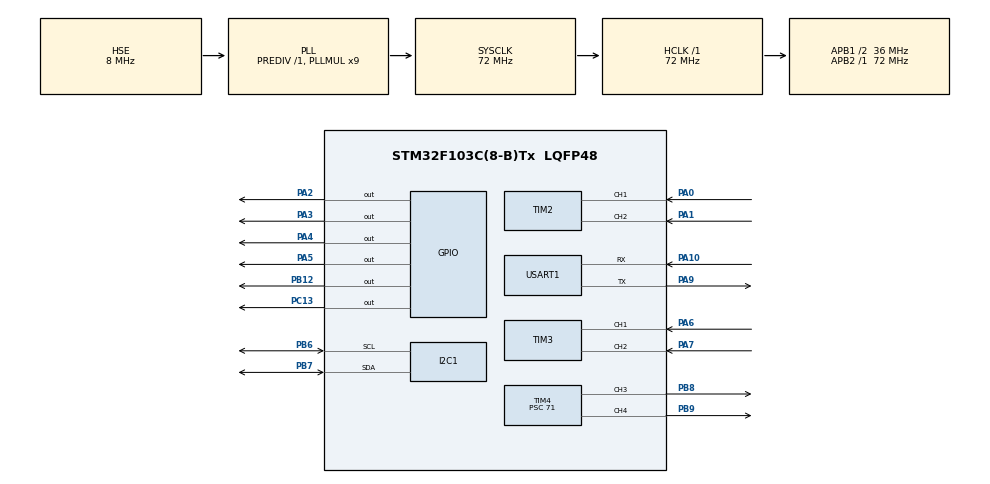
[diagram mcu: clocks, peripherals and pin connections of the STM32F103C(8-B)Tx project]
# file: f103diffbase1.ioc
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I2C1.OwnAddress=11
Mcu.Family=STM32F1
Mcu.Name=STM32F103C(8-B)Tx
Mcu.Package=LQFP48
NVIC.I2C1_ER_IRQn=true\:0\:0\:false\:false\:true\:true\:true\:true
NVIC.I2C1_EV_IRQn=true\:0\:0\:false\:false\:true\:true\:true\:true
NVIC.PriorityGroup=NVIC_PRIORITYGROUP_4
NVIC.USART1_IRQn=true\:0\:0\:false\:false\:true\:true\:true\:true
PA0-WKUP.Signal=S_TIM2_CH1_ETR
PA1.Signal=S_TIM2_CH2
PA10.Mode=Asynchronous
PA10.Signal=USART1_RX
PA13.Mode=Serial_Wire
PA13.Signal=SYS_JTMS-SWDIO
PA14.Mode=Serial_Wire
PA14.Signal=SYS_JTCK-SWCLK
PA2.Signal=GPIO_Output
PA3.Signal=GPIO_Output
PA4.Signal=GPIO_Output
PA5.Signal=GPIO_Output
PA6.Signal=S_TIM3_CH1
PA7.Signal=S_TIM3_CH2
PA9.Mode=Asynchronous
PA9.Signal=USART1_TX
PB12.Signal=GPIO_Output
PB6.Mode=I2C
PB6.Signal=I2C1_SCL
PB7.Mode=I2C
PB7.Signal=I2C1_SDA
PB8.Signal=S_TIM4_CH3
PB9.Signal=S_TIM4_CH4
PC13-TAMPER-RTC.Signal=GPIO_Output
PD0-OSC_IN.Mode=HSE-External-Oscillator
PD0-OSC_IN.Signal=RCC_OSC_IN
PD1-OSC_OUT.Mode=HSE-External-Oscillator
PD1-OSC_OUT.Signal=RCC_OSC_OUT
ProjectManager.HeapSize=0x200
ProjectManager.StackSize=0x400
ProjectManager.TargetToolchain=STM32CubeIDE
RCC.AHBFreq_Value=72000000
RCC.APB1CLKDivider=RCC_HCLK_DIV2
RCC.APB1Freq_Value=36000000
RCC.APB1TimFreq_Value=72000000
RCC.APB2Freq_Value=72000000
RCC.APB2TimFreq_Value=72000000
RCC.HCLKFreq_Value=72000000
RCC.PLLMUL=RCC_PLL_MUL9
RCC.PLLSourceVirtual=RCC_PLLSOURCE_HSE
RCC.SYSCLKFreq_VALUE=72000000
RCC.SYSCLKSource=RCC_SYSCLKSOURCE_PLLCLK
RCC.USBFreq_Value=72000000
SH.S_TIM2_CH1_ETR.0=TIM2_CH1,Encoder_Interface
SH.S_TIM2_CH2.0=TIM2_CH2,Encoder_Interface
SH.S_TIM3_CH1.0=TIM3_CH1,Encoder_Interface
SH.S_TIM3_CH2.0=TIM3_CH2,Encoder_Interface
SH.S_TIM4_CH3.0=TIM4_CH3,PWM Generation3 CH3
SH.S_TIM4_CH4.0=TIM4_CH4,PWM Generation4 CH4
TIM2.EncoderMode=TIM_ENCODERMODE_TI12
TIM3.EncoderMode=TIM_ENCODERMODE_TI12
TIM4.Channel-PWM\ Generation3\ CH3=TIM_CHANNEL_3
TIM4.Channel-PWM\ Generation4\ CH4=TIM_CHANNEL_4
TIM4.Prescaler=71
USART1.VirtualMode=VM_ASYNC
board=custom

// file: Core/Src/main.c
/* USER CODE BEGIN Header */
/**
  ******************************************************************************
  * @file           : main.c
  * @brief          : Main program body
  ******************************************************************************
  * @attention
  *
  * Copyright (c) 2026 STMicroelectronics.
  * All rights reserved.
  *
  * This software is licensed under terms that can be found in the LICENSE file
  * in the root directory of this software component.
  * If no LICENSE file comes with this software, it is provided AS-IS.
  *
  ******************************************************************************
  */
/* USER CODE END Header */
#include "main.h"
#include "i2c.h"
#include "tim.h"
#include "usart.h"
#include "gpio.h"

/* USER CODE BEGIN PD */
#define LEFT_IN1   GPIOA, GPIO_PIN_0
#define LEFT_IN2   GPIOA, GPIO_PIN_1
#define RIGHT_IN1  GPIOA, GPIO_PIN_2
#define RIGHT_IN2  GPIOA, GPIO_PIN_3

#define PWM_MAX  999

/* USER CODE END PD */

/* USER CODE BEGIN PV */
uint32_t t_led = 0;
uint32_t t_uart = 0;

uint32_t LED_PERIOD  = 500;   // ms
uint32_t UART_PERIOD = 1000;  // ms

uint8_t i2c_rx_buf[32];
uint8_t i2c_tx_buf[32];

volatile int16_t encoderLeftPulses  = 0;
volatile int16_t encoderRightPulses = 0;
volatile int16_t leftSpeedPidSetPoint = 0;
volatile int16_t rightSpeedPidSetPoint = 0;
volatile int16_t leftSpeedPidInputLast = 0;
volatile int16_t rightSpeedPidInputLast = 0;
volatile int16_t steeringPidInputLast = 0;

int16_t leftMotorCmd = 0;
int16_t rightMotorCmd = 0;

/* USER CODE END PV */

void SystemClock_Config(void);

int main(void)
{

  /* MCU Configuration--------------------------------------------------------*/

  /* Reset of all peripherals, Initializes the Flash interface and the Systick. */
  HAL_Init();

  /* Configure the system clock */
  SystemClock_Config();

  /* Initialize all configured peripherals */
  MX_GPIO_Init();
  MX_USART1_UART_Init();
  MX_I2C1_Init();
  MX_TIM2_Init();
  MX_TIM3_Init();
  MX_TIM4_Init();
  /* USER CODE BEGIN 2 */

  HAL_TIM_Encoder_Start(&htim2, TIM_CHANNEL_ALL);
  HAL_TIM_Encoder_Start(&htim3, TIM_CHANNEL_ALL);

  HAL_TIM_PWM_Start(&htim4, TIM_CHANNEL_3);
  HAL_TIM_PWM_Start(&htim4, TIM_CHANNEL_4);

  HAL_I2C_EnableListen_IT(&hi2c1);

  /* USER CODE END 2 */

  /* Infinite loop */
  while (1)
  {

    /* USER CODE BEGIN 3 */

	  uint32_t now = HAL_GetTick();

	  /* LED blink */
	  if ((now - t_led) >= LED_PERIOD)
	  {
	    t_led = now;
	    HAL_GPIO_TogglePin(GPIOC, GPIO_PIN_13);
	  }

	  /* Leitura dos encoders */
	  encoderLeftPulses = (int16_t)__HAL_TIM_GET_COUNTER(&htim2);
	  encoderRightPulses = (int16_t)__HAL_TIM_GET_COUNTER(&htim3);

	  apply_motors(leftSpeedPidSetPoint, rightSpeedPidSetPoint);

	  /* UART debug */
	  if ((now - t_uart) >= UART_PERIOD)
	  {
	    t_uart = now;
	    char buf[64];
	    int n = sprintf(buf, "E1=%ld E2=%ld s1=%ld s2=%ld\r\n", encoderLeftPulses, encoderRightPulses, leftSpeedPidSetPoint, rightSpeedPidSetPoint);
	    HAL_UART_Transmit(&huart1, (uint8_t*)buf, n, 50);
	  }

  }
  /* USER CODE END 3 */
}

void SystemClock_Config(void)
{
  RCC_OscInitTypeDef RCC_OscInitStruct = {0};
  RCC_ClkInitTypeDef RCC_ClkInitStruct = {0};

  /** Initializes the RCC Oscillators according to the specified parameters
  * in the RCC_OscInitTypeDef structure.
  */
  RCC_OscInitStruct.OscillatorType = RCC_OSCILLATORTYPE_HSE;
  RCC_OscInitStruct.HSEState = RCC_HSE_ON;
  RCC_OscInitStruct.HSEPredivValue = RCC_HSE_PREDIV_DIV1;
  RCC_OscInitStruct.HSIState = RCC_HSI_ON;
  RCC_OscInitStruct.PLL.PLLState = RCC_PLL_ON;
  RCC_OscInitStruct.PLL.PLLSource = RCC_PLLSOURCE_HSE;
  RCC_OscInitStruct.PLL.PLLMUL = RCC_PLL_MUL9;
  if (HAL_RCC_OscConfig(&RCC_OscInitStruct) != HAL_OK)
  {
    Error_Handler();
  }

  /** Initializes the CPU, AHB and APB buses clocks
  */
  RCC_ClkInitStruct.ClockType = RCC_CLOCKTYPE_HCLK|RCC_CLOCKTYPE_SYSCLK
                              |RCC_CLOCKTYPE_PCLK1|RCC_CLOCKTYPE_PCLK2;
  RCC_ClkInitStruct.SYSCLKSource = RCC_SYSCLKSOURCE_PLLCLK;
  RCC_ClkInitStruct.AHBCLKDivider = RCC_SYSCLK_DIV1;
  RCC_ClkInitStruct.APB1CLKDivider = RCC_HCLK_DIV2;
  RCC_ClkInitStruct.APB2CLKDivider = RCC_HCLK_DIV1;

  if (HAL_RCC_ClockConfig(&RCC_ClkInitStruct, FLASH_LATENCY_2) != HAL_OK)
  {
    Error_Handler();
  }
}

/* USER CODE BEGIN 4 */
static inline void left_forward(void){
  HAL_GPIO_WritePin(LEFT_IN1, GPIO_PIN_SET);
  HAL_GPIO_WritePin(LEFT_IN2, GPIO_PIN_RESET);
}
static inline void left_backward(void){
  HAL_GPIO_WritePin(LEFT_IN1, GPIO_PIN_RESET);
  HAL_GPIO_WritePin(LEFT_IN2, GPIO_PIN_SET);
}
static inline void left_stop(void){
  HAL_GPIO_WritePin(LEFT_IN1, GPIO_PIN_RESET);
  HAL_GPIO_WritePin(LEFT_IN2, GPIO_PIN_RESET);
}

static inline void right_forward(void){
  HAL_GPIO_WritePin(RIGHT_IN1, GPIO_PIN_SET);
  HAL_GPIO_WritePin(RIGHT_IN2, GPIO_PIN_RESET);
}
static inline void right_backward(void){
  HAL_GPIO_WritePin(RIGHT_IN1, GPIO_PIN_RESET);
  HAL_GPIO_WritePin(RIGHT_IN2, GPIO_PIN_SET);
}
static inline void right_stop(void){
  HAL_GPIO_WritePin(RIGHT_IN1, GPIO_PIN_RESET);
  HAL_GPIO_WritePin(RIGHT_IN2, GPIO_PIN_RESET);
}

void apply_motors(int16_t left, int16_t right)
{
  // LEFT
  if (left == 0) {
    left_stop();
    __HAL_TIM_SET_COMPARE(&htim4, TIM_CHANNEL_3, 0);
  } else if (left > 0) {
    left_forward();
    __HAL_TIM_SET_COMPARE(&htim4, TIM_CHANNEL_3, (left > PWM_MAX ? PWM_MAX : left));
  } else {
    left_backward();
    __HAL_TIM_SET_COMPARE(&htim4, TIM_CHANNEL_3, ((-left) > PWM_MAX ? PWM_MAX : -left));
  }

  // RIGHT
  if (right == 0) {
    right_stop();
    __HAL_TIM_SET_COMPARE(&htim4, TIM_CHANNEL_4, 0);
  } else if (right > 0) {
    right_forward();
    __HAL_TIM_SET_COMPARE(&htim4, TIM_CHANNEL_4, (right > PWM_MAX ? PWM_MAX : right));
  } else {
    right_backward();
    __HAL_TIM_SET_COMPARE(&htim4, TIM_CHANNEL_4, ((-right) > PWM_MAX ? PWM_MAX : -right));
  }
}

void HAL_I2C_AddrCallback(I2C_HandleTypeDef *hi2c,
                          uint8_t TransferDirection,
                          uint16_t AddrMatchCode)
{
  if (hi2c->Instance == I2C1)
  {
    if (TransferDirection == I2C_DIRECTION_TRANSMIT)
    {
      // Master vai escrever → nós vamos receber
      HAL_I2C_Slave_Seq_Receive_IT(hi2c, i2c_rx_buf, 32, I2C_FIRST_AND_LAST_FRAME);
    }
    else
    {
      prepare_i2c_tx();
      // Master vai ler → nós vamos enviar
      HAL_I2C_Slave_Seq_Transmit_IT(hi2c, i2c_tx_buf, 32, I2C_FIRST_FRAME);
    }
  }
}

void HAL_I2C_SlaveRxCpltCallback(I2C_HandleTypeDef *hi2c)
{
  if (hi2c->Instance != I2C1) return;

  uint8_t cmd = i2c_rx_buf[0];

  //int16_t *data = (int16_t*)&i2c_rx_buf[0];

  switch (cmd)
  {
    case 1: // CMD_RESET_ENCODERS
      __HAL_TIM_SET_COUNTER(&htim2, 0);
      __HAL_TIM_SET_COUNTER(&htim3, 0);
      encoderLeftPulses = 0;
      encoderRightPulses = 0;
      break;

    case 2: // CMD_SET_PWM
      //leftSpeedPidSetPoint  = data[1];
      //rightSpeedPidSetPoint = data[2];
      // com inversão de bytes no pi
      leftSpeedPidSetPoint  = ((int16_t*)i2c_rx_buf)[1];
      rightSpeedPidSetPoint = ((int16_t*)i2c_rx_buf)[2];
      // sem inversão dos bytesno pi //
      // buf[1] | (buf[2]<<8)
      //leftSpeedPidSetPoint  = (int16_t)(i2c_rx_buf[1] | (i2c_rx_buf[2] << 8));
      //rightSpeedPidSetPoint = (int16_t)(i2c_rx_buf[3] | (i2c_rx_buf[4] << 8));
      break;

    case 3: // CMD_LIDAR_MOTOR_ON
      // placeholder
      break;

    case 4: // CMD_LIDAR_MOTOR_OFF
      // placeholder
      break;

    case 5: // CMD_SET_MOTION
    case 6: // CMD_SET_VEL
      //leftSpeedPidSetPoint  = data[1];
      //rightSpeedPidSetPoint = data[2];
      leftSpeedPidSetPoint  = ((int16_t*)i2c_rx_buf)[1];
      rightSpeedPidSetPoint = ((int16_t*)i2c_rx_buf)[2];
      break;

    case 81:
    case 82:
    case 83:
      // PID tunings → ignorado nesta fase
      break;
  }
}

void prepare_i2c_tx(void)
{
  int16_t *tx = (int16_t*)i2c_tx_buf;

  tx[0] = 0;
  tx[1] = encoderLeftPulses;
  tx[2] = encoderRightPulses;
  tx[3] = leftSpeedPidSetPoint - leftSpeedPidInputLast;
  tx[4] = rightSpeedPidSetPoint - rightSpeedPidInputLast;
  tx[5] = steeringPidInputLast;
}

void HAL_I2C_SlaveTxCpltCallback(I2C_HandleTypeDef *hi2c)
{
  prepare_i2c_tx();
}

void HAL_I2C_ListenCpltCallback(I2C_HandleTypeDef *hi2c)
{
  HAL_I2C_EnableListen_IT(hi2c);
}

/* USER CODE END 4 */

void Error_Handler(void)
{
  __disable_irq();
  while (1)
  {
  }
}
